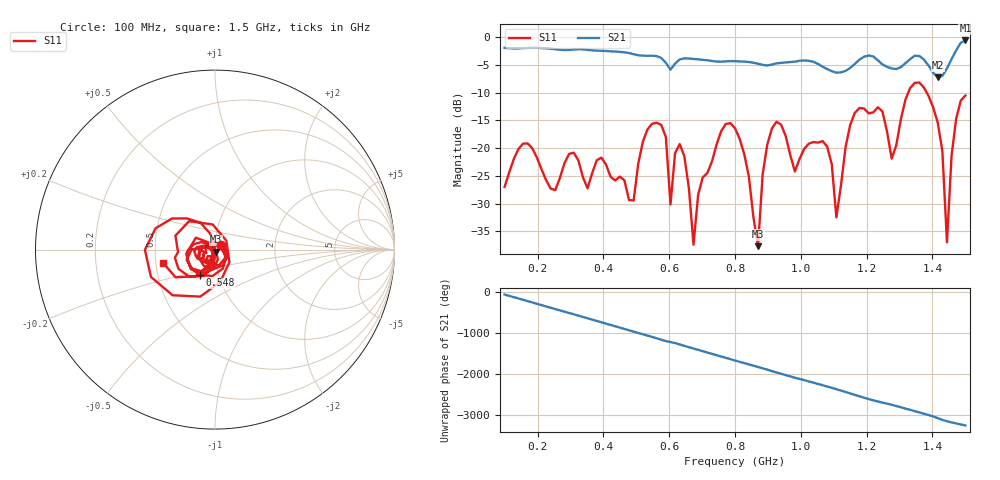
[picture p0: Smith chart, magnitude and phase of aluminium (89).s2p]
! NanoVNA-App
! Date: 2025-09-26 09:58:45
! Start: 100MHz Stop: 1,5GHz Points: 101
! S-Parameter data: F S11 S21 S12 S22
# Hz S RI R 50
!  Frequency  S11_Real  S11_Imag  S21_Real  S21_Imag  S12_Real  S12_Imag  S22_Real  S22_Imag
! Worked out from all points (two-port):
!   101 points, 100 MHz to 1.5 GHz, reference 50 ohm
!   highest |S21| = -0.58 dB at 1.5 GHz (marker M1); lowest = -7.3 dB at 1.416 GHz (marker M2)
!   |S21| within 3 dB of the highest: start of sweep to 569.6 MHz; 1.19 GHz to 1.222 GHz (32.36 MHz wide, 2.68 % of centre) (the widest 2 of 4)
!   lowest |S11| = -37.7 dB at 870 MHz (marker M3), VSWR 1.03, Z = 50.7 - j1.14 ohm
!   |S11| at or under -10 dB: start of sweep to 1.326 GHz; 1.383 GHz to end of sweep
!   S12 and S22 are empty: the file has one direction only
!   S11 on the Smith chart (normalised r, x): 100 MHz: 1.07, +0.06; 548 MHz: 0.81, -0.24; 1.5 GHz: 0.55, -0.09
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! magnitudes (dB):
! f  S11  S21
! 100 MHz  -27.0  -1.9
! 156 MHz  -19.2  -2.0
! 338 MHz  -25.2  -2.2
! 492 MHz  -29.4  -3.1
! 548 MHz  -15.6  -3.3
! 576 MHz  -15.8  -3.7
! 604 MHz  -30.1  -5.8
! 646 MHz  -21.4  -3.8
! 674 MHz  -37.4  -3.9
! 702 MHz  -25.3  -4.1
! 800 MHz  -16.4  -4.3
! 870 MHz  -37.7  -4.8
! 912 MHz  -16.5  -4.9
! 1.038 GHz  -18.9  -4.4
! 1.108 GHz  -32.5  -6.4
! 1.164 GHz  -13.6  -4.8
! 1.276 GHz  -21.9  -5.6
! 1.346 GHz  -8.2  -3.3
! 1.416 GHz  -15.4  -7.3
! 1.444 GHz  -37.0  -5.6
! 1.472 GHz  -14.7  -2.4
! 1.5 GHz  -10.5  -0.6
